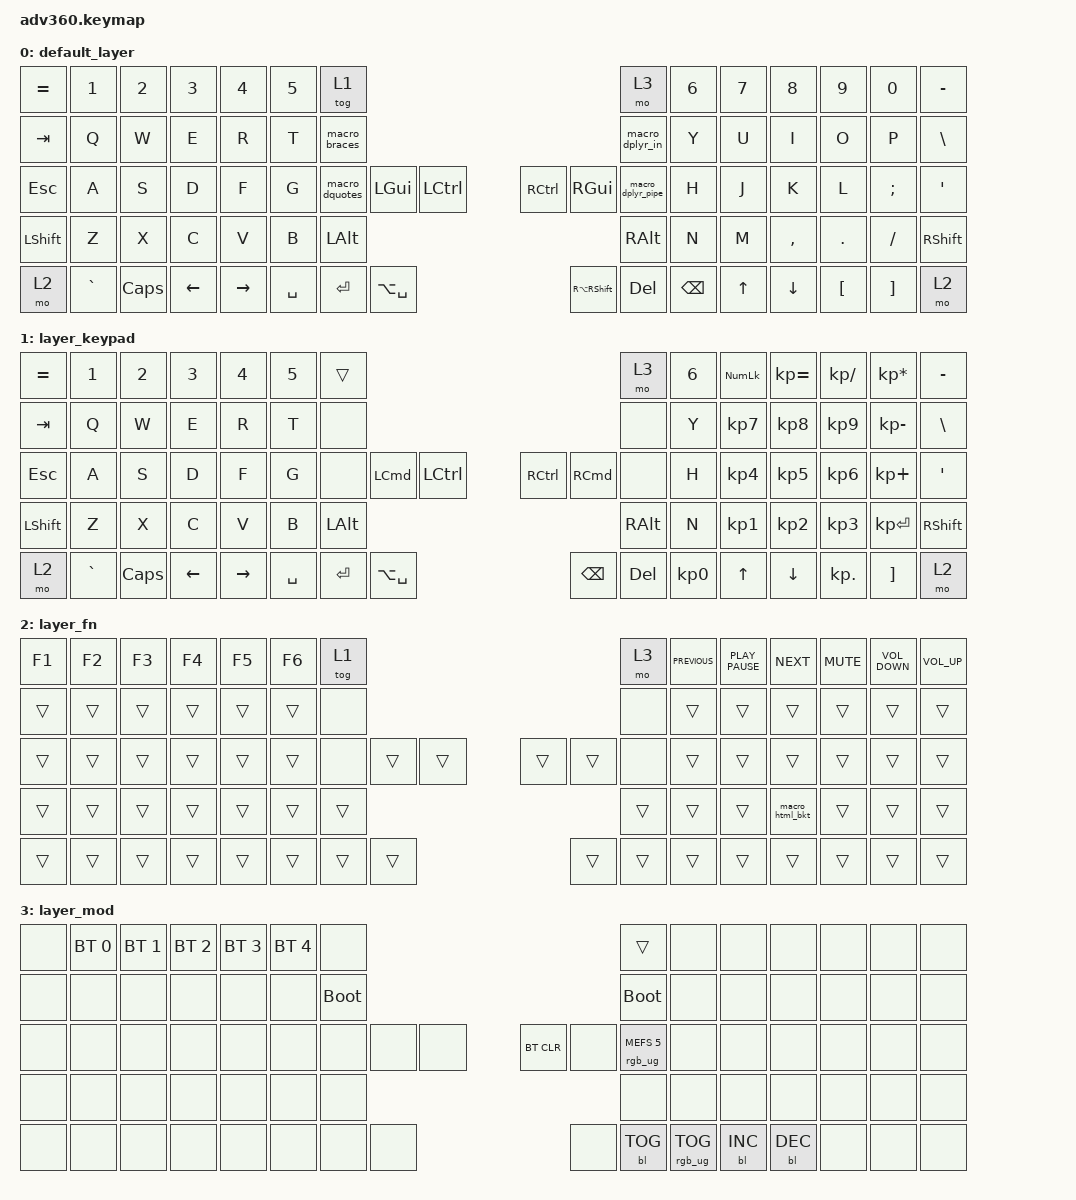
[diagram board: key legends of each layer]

/*
 * Copyright (c) 2020 The ZMK Contributors
 *
 * SPDX-License-Identifier: MIT
 */


/* THIS FILE WAS GENERATED!
 *
 * This file was generated automatically. You may or may not want to
 * edit it directly.
 */

#include <behaviors.dtsi>
#include <dt-bindings/zmk/keys.h>
#include <dt-bindings/zmk/bt.h>
#include <dt-bindings/zmk/rgb.h>
#include <dt-bindings/zmk/backlight.h>

/ {
  behaviors {
    #include "macros.dtsi"
    #include "version.dtsi"

    hm: homerow_mods {
        compatible = "zmk,behavior-hold-tap";
        label = "HOMEROW_MODS";
        #binding-cells = <2>;
        tapping-term-ms = <200>;
        quick_tap_ms = <175>;
        flavor = "tap-preferred";
        bindings = <&kp>, <&kp>;
    };
  };

    keymap {
        compatible = "zmk,keymap";


        default_layer {
            bindings = <
 &kp EQUAL     &kp N1        &kp N2    &kp N3     &kp N4  &kp N5                    &tog 1                                                                                         &mo 3  &kp N6  &kp N7     &kp N8    &kp N9    &kp N0  &kp MINUS
   &kp TAB      &kp Q         &kp W     &kp E      &kp R   &kp T             &macro_braces                                                                               &macro_dplyr_in   &kp Y   &kp U      &kp I     &kp O     &kp P   &kp BSLH
   &kp ESC      &kp A         &kp S     &kp D      &kp F   &kp G            &macro_dquotes   &kp LGUI      &kp LCTRL                            &kp RCTRL    &kp RGUI  &macro_dplyr_pipe   &kp H   &kp J      &kp K     &kp L  &kp SEMI    &kp SQT
 &kp LSHFT      &kp Z         &kp X     &kp C      &kp V   &kp B                                        &kp LEFT_ALT                        &kp RIGHT_ALT                                  &kp N   &kp M  &kp COMMA   &kp DOT  &kp FSLH  &kp RSHFT
     &mo 2  &kp GRAVE  &kp CAPSLOCK  &kp LEFT  &kp RIGHT                         &kp SPACE  &kp ENTER  &kp LA(SPACE)                  &kp RA(RIGHT_SHIFT)  &kp DELETE      &kp BACKSPACE          &kp UP   &kp DOWN  &kp LBKT  &kp RBKT      &mo 2
            >;
        };

        layer_keypad {
            bindings = <
 &kp EQUAL     &kp N1    &kp N2    &kp N3     &kp N4  &kp N5               &trans                                                                                            &mo 3  &kp N6  &kp KP_NUM  &kp KP_EQUAL  &kp KP_DIVIDE  &kp KP_MULTIPLY  &kp MINUS
   &kp TAB      &kp Q     &kp W     &kp E      &kp R   &kp T                &none                                                                                            &none   &kp Y   &kp KP_N7     &kp KP_N8      &kp KP_N9     &kp KP_MINUS   &kp BSLH
   &kp ESC      &kp A     &kp S     &kp D      &kp F   &kp G                &none  &kp LEFT_COMMAND  &kp LEFT_CONTROL                      &kp RCTRL  &kp RIGHT_COMMAND      &none   &kp H   &kp KP_N4     &kp KP_N5      &kp KP_N6      &kp KP_PLUS    &kp SQT
 &kp LSHFT      &kp Z     &kp X     &kp C      &kp V   &kp B                                             &kp LEFT_ALT                  &kp RIGHT_ALT                                 &kp N   &kp KP_N1     &kp KP_N2      &kp KP_N3     &kp KP_ENTER  &kp RSHFT
     &mo 2  &kp GRAVE  &kp CAPS  &kp LEFT  &kp RIGHT                    &kp SPACE         &kp ENTER     &kp LA(SPACE)                  &kp BACKSPACE            &kp DEL  &kp KP_N0              &kp UP      &kp DOWN     &kp KP_DOT         &kp RBKT      &mo 2
            >;
        };

        layer_fn {
            bindings = <
 &kp F1  &kp F2  &kp F3  &kp F4  &kp F5  &kp F6            &tog 1                                                   &mo 3  &kp K_PREVIOUS  &kp K_PLAY_PAUSE       &kp K_NEXT  &kp K_MUTE  &kp K_VOLUME_DOWN  &kp K_VOLUME_UP
 &trans  &trans  &trans  &trans  &trans  &trans             &none                                                   &none          &trans            &trans           &trans      &trans             &trans           &trans
 &trans  &trans  &trans  &trans  &trans  &trans             &none  &trans  &trans                  &trans  &trans   &none          &trans            &trans           &trans      &trans             &trans           &trans
 &trans  &trans  &trans  &trans  &trans  &trans                            &trans                  &trans                          &trans            &trans  &macro_html_bkt      &trans             &trans           &trans
 &trans  &trans  &trans  &trans  &trans                    &trans  &trans  &trans                  &trans  &trans  &trans                            &trans           &trans      &trans             &trans           &trans
            >;
        };

        layer_mod {
            bindings = <
  &none  &bt BT_SEL 0  &bt BT_SEL 1  &bt BT_SEL 2  &bt BT_SEL 3  &bt BT_SEL 4                  &none                                                                          &trans   &none       &none       &none   &none   &none   &none
  &none         &none         &none         &none         &none         &none            &bootloader                                                                     &bootloader   &none       &none       &none   &none   &none   &none
  &none         &none         &none         &none         &none         &none                  &none   &none   &none                  &bt BT_CLR       &none  &rgb_ug RGB_MEFS_CMD 5   &none       &none       &none   &none   &none   &none
  &none         &none         &none         &none         &none         &none                                  &none                       &none                                       &none       &none       &none   &none   &none   &none
  &none         &none         &none         &none         &none                                &none   &none   &none                       &none  &bl BL_TOG         &rgb_ug RGB_TOG          &bl BL_INC  &bl BL_DEC   &none   &none   &none
            >;
        };

    };
};
